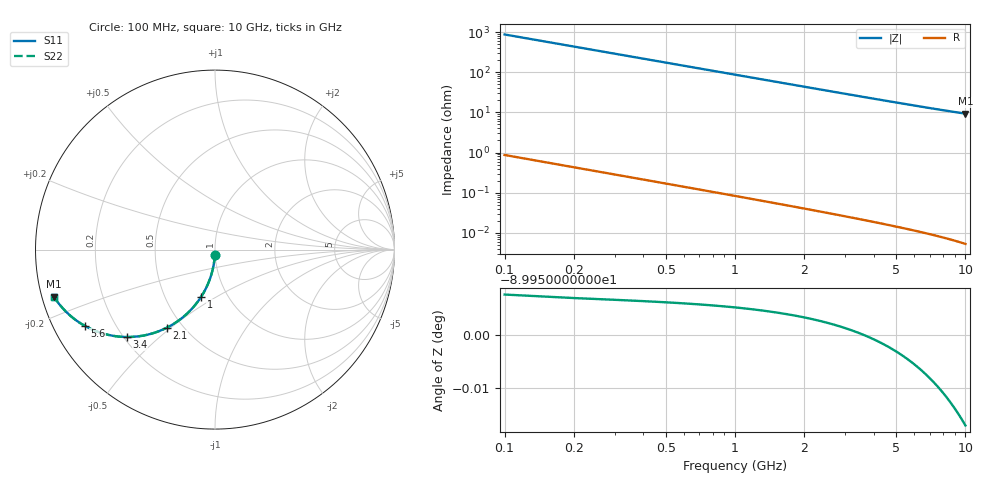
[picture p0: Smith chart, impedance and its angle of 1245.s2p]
# Hz S RI R 50.00
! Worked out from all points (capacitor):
!   100 points, 100 MHz to 10 GHz, reference 50 ohm
!   read as one part in shunt: C = 1.83 pF near 100 MHz
!   lowest |Z| = 9.31 ohm at 10 GHz (marker M1)
!   S11 on the Smith chart (normalised r, x): 100 MHz: 1.00, -0.06; 1 GHz: 0.75, -0.43; 2.1 GHz: 0.41, -0.48; 3.4 GHz: 0.21, -0.40; 5.6 GHz: 0.09, -0.27; 10 GHz: 0.03, -0.14
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1e8  -0.000712 -0.0284  0.999 -0.0291  0.999 -0.0291  -0.000712 -0.0284
2e8  -0.00322 -0.0567  0.9965 -0.0581  0.9965 -0.0581  -0.00322 -0.0567
3e8  -0.00735 -0.0847  0.9924 -0.0868  0.9924 -0.0868  -0.00735 -0.0847
4e8  -0.0131 -0.1122  0.9866 -0.1151  0.9866 -0.1151  -0.0131 -0.1122
5e8  -0.0203 -0.1393  0.9794 -0.1429  0.9794 -0.1429  -0.0203 -0.1393
6e8  -0.029 -0.1656  0.9707 -0.17  0.9707 -0.17  -0.029 -0.1656
7e8  -0.0391 -0.1912  0.9606 -0.1963  0.9606 -0.1963  -0.0391 -0.1912
8e8  -0.0505 -0.2159  0.9492 -0.2217  0.9492 -0.2217  -0.0505 -0.2159
1e9  -0.0767 -0.2623  0.9229 -0.2696  0.9229 -0.2696  -0.0767 -0.2623
1.2e9  -0.1069 -0.3044  0.8927 -0.3131  0.8927 -0.3131  -0.1069 -0.3044
1.4e9  -0.1401 -0.3417  0.8595 -0.3519  0.8595 -0.3519  -0.1401 -0.3417
1.8e9  -0.2124 -0.4021  0.7872 -0.4152  0.7872 -0.4152  -0.2124 -0.4021
2.1e9  -0.2686 -0.4352  0.731 -0.4505  0.731 -0.4505  -0.2686 -0.4352
2.7e9  -0.3782 -0.4746  0.6213 -0.4943  0.6213 -0.4943  -0.3782 -0.4746
3.4e9  -0.4916 -0.487  0.5078 -0.5119  0.5078 -0.5119  -0.4916 -0.487
4.2e9  -0.5969 -0.4745  0.4023 -0.5053  0.4023 -0.5053  -0.5969 -0.4745
5.1e9  -0.687 -0.4441  0.3119 -0.4818  0.3119 -0.4818  -0.687 -0.4441
5.6e9  -0.7264 -0.4242  0.2724 -0.4657  0.2724 -0.4657  -0.7264 -0.4242
6.7e9  -0.793 -0.379  0.2054 -0.429  0.2054 -0.429  -0.793 -0.379
7.5e9  -0.8285 -0.3474  0.1696 -0.4037  0.1696 -0.4037  -0.8285 -0.3474
8.4e9  -0.8593 -0.3142  0.1384 -0.3777  0.1384 -0.3777  -0.8593 -0.3142
1e10  -0.8977 -0.262  0.099 -0.3387  0.099 -0.3387  -0.8977 -0.262
